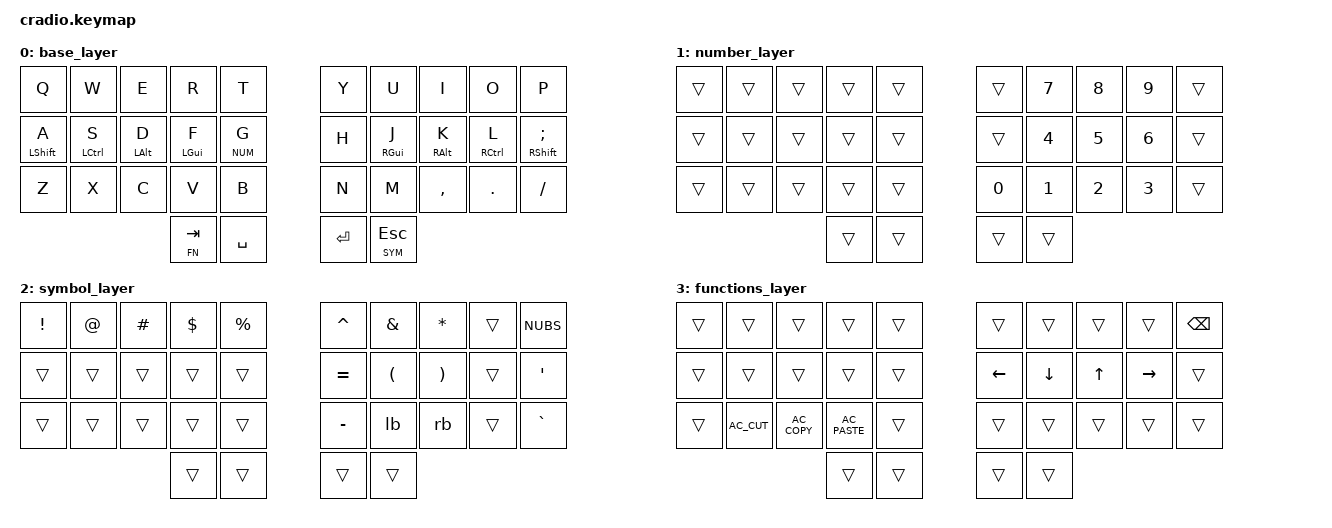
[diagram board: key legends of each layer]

#include <behaviors.dtsi>
#include <dt-bindings/zmk/keys.h>
#include <dt-bindings/zmk/bt.h>
#include <dt-bindings/zmk/outputs.h>


#include "keys/36.h"

// global
#define QUICK_TAP_MS 175

// layers
#define BASE 0
#define NUM 1
#define SYM 2
#define FN 3

// redefined keycodes
#define _LWIN_    &kp LEFT_WIN
#define _RALT_    &kp RIGHT_ALT
#define _SPC_     &kp SPACE
#define _RET_     &kp RETURN 
#define _CUT_     &kp C_AC_CUT
#define _PASTE_     &kp C_AC_PASTE
#define _COPY_     &kp C_AC_COPY

#define _MO_NUM_ &mo NUMBER

#define OUTTOG   &out OUT_TOG // toggle keyboard output bluetooth/usb
#define ___      &trans      //  transparent
#define _x_      &none



/ {
  behaviors {
    hm: homerow_mods {
      compatible = "zmk,behavior-hold-tap";
      flavor = "balanced";
      tapping-term-ms = <280>;
      quick-tap-ms = <QUICK_TAP_MS>; 
      bindings = <&kp>, <&kp>;
      // label = "HOMEROW_MODS";
      #binding-cells = <2>;
      // hold-trigger-key-positions = <TRIGGER_POS>;
      hold-trigger-on-release;

    };
    lb: l_brace_shift_bracket {
         compatible = "zmk,behavior-mod-morph";
            #binding-cells = <0>;
            bindings = <&kp LBRC>, <&kp LBKT>;
            mods = <(MOD_LSFT|MOD_RSFT)>;
    };
    rb: r_brace_shift_bracket {
         compatible = "zmk,behavior-mod-morph";
            #binding-cells = <0>;
            bindings = <&kp RBRC>, <&kp RBKT>;
            mods = <(MOD_LSFT|MOD_RSFT)>;
    };
  };
};

/ {
  keymap {
    compatible = "zmk,keymap";
    base_layer { 
      bindings = <
        // ╭───────────────────────────────────────────────────────────╮   ╭───────────────────────────────────────────────────────────╮
        // │     Q     │     W     │     E     │    R      │     T     │   │     Y     │     U    YM │     I     │     O     │     P     │
               &kp Q       &kp W       &kp E      &kp R        &kp T           &kp Y       &kp U       &kp I       &kp O       &kp P
        // ├───────────┼───────────┼───────────┼───────────┼───────────┤   ├───────────┼───────────┼───────────┼───────────┼───────────┤
        // │     A     │     S     │     D     │     F     │     G     │   │     H     │     J     │     K     │     L     │     '     │
            &hm LSHIFT A  &hm LCTRL S  &hm LALT D  &hm LGUI F  &lt NUM G      &kp H     &hm RGUI J   &hm RALT K    &hm RCTRL L   &hm RSHIFT SEMI           
        // ├───────────┼───────────┼───────────┼───────────┼───────────┤   ├───────────┼───────────┼───────────┼───────────┼───────────┤
        // │     Z     │     X     │     C     │     V     │     B     │   │     N     │     M     │    ,/;    │    ./:    │     /     │
               &kp Z       &kp X       &kp C       &kp V       &kp B           &kp N       &kp M     &kp COMMA     &kp DOT      &kp FSLH
        // ╰───────────┼───────────┼───────────┼───────────┼───────────╯   ╰───────────┼───────────┼───────────┼───────────┼───────────╯
                                        &lt FN TAB      &kp SPACE               _RET_    &lt SYM ESC
        //                         ╰───────────────────────────────────╯   ╰───────────────────────────────────╯
      >;
    };
    number_layer { 
      bindings = <
        // ╭───────────────────────────────────────────────────────────╮   ╭───────────────────────────────────────────────────────────╮
        // │     _     │     _     │     _     │     _     │     _     │   │     _     │     _     │     _     │     _     │     _     │
                ___         ___         ___         ___         ___             ___        &kp 7       &kp 8       &kp 9        ___
        // ├───────────┼───────────┼───────────┼───────────┼───────────┤   ├───────────┼───────────┼───────────┼───────────┼───────────┤
        // │     _     │     _     │     _     │     _     │     _     │   │     _     │     _     │     _     │     _     │     _     │
                ___         ___         ___         ___         ___             ___        &kp 4       &kp 5       &kp 6        ___
        // ├───────────┼───────────┼───────────┼───────────┼───────────┤   ├───────────┼───────────┼───────────┼───────────┼───────────┤
        // │     _     │     _     │     _     │     _     │     _     │   │     _     │     _     │     _     │     _     │     _     │
                ___         ___         ___         ___         ___            &kp 0       &kp 1       &kp 2       &kp 3        ___
        // ╰───────────┼───────────┼───────────┼───────────┼───────────╯   ╰───────────┼───────────┼───────────┼───────────┼───────────╯
                                                ___         ___                     ___         ___ 
        //                         │                                   │   │                                   │
        //                         ╰───────────────────────────────────╯   ╰───────────────────────────────────╯
      >;
    };
    symbol_layer { 
      bindings = <
        // ╭───────────────────────────────────────────────────────────╮   ╭───────────────────────────────────────────────────────────╮
        // │     _     │     _     │     _     │     _     │     _     │   │     _     │     _     │     _     │     _     │     _     │
              &kp EXCL     &kp AT     &kp HASH    &kp DLLR   &kp PRCNT       &kp CARET    &kp AMPS    &kp STAR    ___         &kp NUBS 
        // ├───────────┼───────────┼───────────┼───────────┼───────────┤   ├───────────┼───────────┼───────────┼───────────┼───────────┤
        // │     _     │     _     │     _     │     _     │     _     │   │     _     │     _     │     _     │     _     │     _     │
                ___         ___         ___         ___         ___           &kp EQUAL   &kp LPAR   &kp RPAR         ___     &kp APOS
        // ├───────────┼───────────┼───────────┼───────────┼───────────┤   ├───────────┼───────────┼───────────┼───────────┼───────────┤
        // │     _     │     _     │     _     │     _     │     _     │   │     _     │ {, <S>[   │  {, <S>[  │     _     │     _     │
                ___         ___         ___         ___         ___          &kp MINUS         &lb        &rb          ___    &kp GRAVE 
        // ╰───────────┼───────────┼───────────┼───────────┼───────────╯   ╰───────────┼───────────┼───────────┼───────────┼───────────╯
                                        ___         ___                             ___         ___
        //                         │                                   │   │                                   │
        //                         ╰───────────────────────────────────╯   ╰───────────────────────────────────╯
      >;
    };
    fn_layer = {
      binding = <
      ╭───────────────────────────────────────────────────────────╮   ╭───────────────────────────────────────────────────────────╮
      │     _     │     _     │     _     │     _     │     _     │   │     _     │     _     │     _     │     _     │     _     │
         &sl BASE  &out OUT_USB &out OUT_BLE   _x_      &bt BT_CLR        &kp F10      &kp F7     &kp F8       &kp F9       _x_
      ├───────────┼───────────┼───────────┼───────────┼───────────┤   ├───────────┼───────────┼───────────┼───────────┼───────────┤
      │     _     │     _     │     _     │     _     │     _     │   │     _     │     _     │     _     │     _     │     _     │
       &bt BT_SEL 0 &bt BT_SEL 1 &bt BT_SEL 2 &bt BT_SEL 3 &bt BT_SEL 4   &kp F11      &kp F4      &kp F5      &kp F6       _x_
      ├───────────┼───────────┼───────────┼───────────┼───────────┤   ├───────────┼───────────┼───────────┼───────────┼───────────┤
      │     _     │     _     │     _     │     _     │     _     │   │     _     │     _     │     _     │     _     │     _     │
       &bootloader  _x_        _x_        _x_        _x_           &kp F12     &kp F1      &kp F2      &kp F3  &bootloader
      ╰───────────┼───────────┼───────────┼───────────┼───────────╯   ╰───────────┼───────────┼───────────┼───────────┼───────────╯
                                         _x_     _x_                            _x_ _x_
                              │                                   │   │                                   │
                              ╰───────────────────────────────────╯   ╰───────────────────────────────────╯
        >;
    };




    functions_layer { 
      bindings = <
        // ╭───────────────────────────────────────────────────────────╮   ╭───────────────────────────────────────────────────────────╮
        // │     _     │     _     │     _     │     _     │     _     │   │     _     │     _     │     _     │     _     │     _     │
                ___         ___         ___         ___         ___             ___         ___         ___         ___       &kp BSPC
        // ├───────────┼───────────┼───────────┼───────────┼───────────┤   ├───────────┼───────────┼───────────┼───────────┼───────────┤
        // │     _     │     _     │     _     │     _     │     _     │   │     _     │     _     │     _     │     _     │     _     │
                ___         ___         ___         ___         ___           &kp LEFT    &kp DOWN     &kp UP    &kp RIGHT     ___
        // ├───────────┼───────────┼───────────┼───────────┼───────────┤   ├───────────┼───────────┼───────────┼───────────┼───────────┤
        // │     _     │     _     │     _     │     _     │     _     │   │     _     │     _     │     _     │     _     │     _     │
                           
                ___        _CUT_       _COPY_     _PASTE_        ___            ___         ___         ___         ___         ___
        // ╰───────────┼───────────┼───────────┼───────────┼───────────╯   ╰───────────┼───────────┼───────────┼───────────┼───────────╯
                                        ___         ___                  ___         ___
        //                         │                                   │   │                                   │
        //                         ╰───────────────────────────────────╯   ╰───────────────────────────────────╯
      >;
    };
  };
};

//                                  Template for new layers all keys are transparent
//      ╭───────────────────────────────────────────────────────────╮   ╭───────────────────────────────────────────────────────────╮
//      │     _     │     _     │     _     │     _     │     _     │   │     _     │     _     │     _     │     _     │     _     │
//      │    ___    │    ___    │    ___    │    ___    │    ___    │   │    ___    │    ___    │    ___    │    ___    │    ___    │
//      ├───────────┼───────────┼───────────┼───────────┼───────────┤   ├───────────┼───────────┼───────────┼───────────┼───────────┤
//      │     _     │     _     │     _     │     _     │     _     │   │     _     │     _     │     _     │     _     │     _     │
//      │    ___    │    ___    │    ___    │    ___    │    ___    │   │    ___    │    ___    │    ___    │    ___    │    ___    │
//      ├───────────┼───────────┼───────────┼───────────┼───────────┤   ├───────────┼───────────┼───────────┼───────────┼───────────┤
//      │     _     │     _     │     _     │     _     │     _     │   │     _     │     _     │     _     │     _     │     _     │
//      │    ___    │    ___    │    ___    │    ___    │    ___    │   │    ___    │    ___    │    ___    │    ___    │    ___    │
//      ╰───────────┼───────────┼───────────┼───────────┼───────────╯   ╰───────────┼───────────┼───────────┼───────────┼───────────╯
//                                   ___         ___              ___         ___
//                              │                                   │   │                                   │
//                              ╰───────────────────────────────────╯   ╰───────────────────────────────────╯
//



// vim:ft=cpp
